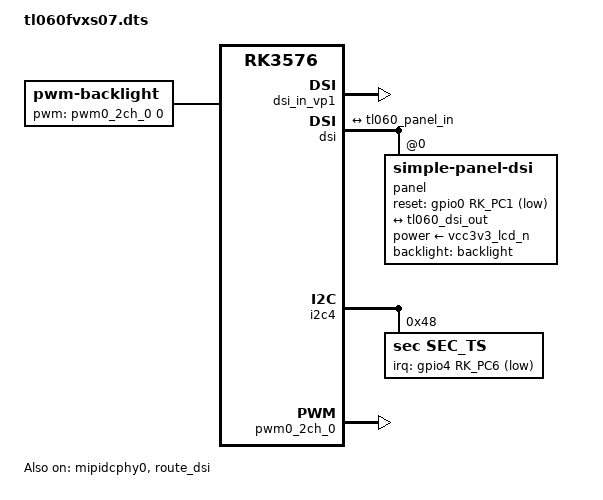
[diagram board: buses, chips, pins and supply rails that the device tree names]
/dts-v1/;
/plugin/;
#include <dt-bindings/gpio/gpio.h>
#include <dt-bindings/pinctrl/rockchip.h>
#include <dt-bindings/display/drm_mipi_dsi.h>

/ {
	compatible = "rockchip,rk3576-dshanpi-a1", "rockchip,rk3576";
};

/* Add the backlight without requiring a backlight symbol in the base DTB. */
&{/} {
	backlight: backlight {
		status = "okay";
		compatible = "pwm-backlight";
		pwms = <&pwm0_2ch_0 0 25000 0>;
		brightness-levels = <0 20 20 21 21 22 22 23
				     23 24 24 25 25 26 26 27
				     27 28 28 29 29 30 30 31
				     31 32 32 33 33 34 34 35
				     35 36 36 37 37 38 38 39
				     40 41 42 43 44 45 46 47
				     48 49 50 51 52 53 54 55
				     56 57 58 59 60 61 62 63
				     64 65 66 67 68 69 70 71
				     72 73 74 75 76 77 78 79
				     80 81 82 83 84 85 86 87
				     88 89 90 91 92 93 94 95
				     96 97 98 99 100 101 102 103
				     104 105 106 107 108 109 110 111
				     112 113 114 115 116 117 118 119
				     120 121 122 123 124 125 126 127
				     128 129 130 131 132 133 134 135
				     136 137 138 139 140 141 142 143
				     144 145 146 147 148 149 150 151
				     152 153 154 155 156 157 158 159
				     160 161 162 163 164 165 166 167
				     168 169 170 171 172 173 174 175
				     176 177 178 179 180 181 182 183
				     184 185 186 187 188 189 190 191
				     192 193 194 195 196 197 198 199
				     200 201 202 203 204 205 206 207
				     208 209 210 211 212 213 214 215
				     216 217 218 219 220 221 222 223
				     224 225 226 227 228 229 230 231
				     232 233 234 235 236 237 238 239
				     240 241 242 243 244 245 246 247
				     248 249 250 251 252 253 254 255>;
		default-brightness-level = <200>;
	};
};

&mipidcphy0 {
	status = "okay";
};

/* Use VP1 for DSI, leaving the existing HDMI / VP0 configuration intact. */
&dsi_in_vp0 {
	status = "disabled";
};

&dsi_in_vp1 {
	status = "okay";
};

&dsi_in_vp2 {
	status = "disabled";
};

&dsi_in_vopl {
	status = "disabled";
};

&route_dsi {
	status = "okay";
	connect = <&vp1_out_dsi>;
};

&dsi {
	status = "okay";
	#address-cells = <1>;
	#size-cells = <0>;

	/* Creates the panel if absent, or merges with the vendor panel@0. */
	panel@0 {
		compatible = "simple-panel-dsi";
		reg = <0>;
		status = "okay";

		backlight = <&backlight>;
		power-supply = <&vcc3v3_lcd_n>;
		reset-gpios = <&gpio0 RK_PC1 GPIO_ACTIVE_LOW>;

		pinctrl-names = "default";
		pinctrl-0 = <&lcd_reset_pin>;

		prepare-delay-ms = <40>;
		reset-delay-ms = <60>;
		init-delay-ms = <80>;
		stbyb-delay-ms = <20>;
		enable-delay-ms = <60>;
		disable-delay-ms = <20>;
		unprepare-delay-ms = <20>;
		rotation = <90>;
		width-mm = <135>;
		height-mm = <216>;
		dsi,flags = <(MIPI_DSI_MODE_VIDEO | MIPI_DSI_MODE_VIDEO_BURST |
			      MIPI_DSI_MODE_LPM | MIPI_DSI_MODE_NO_EOT_PACKET | MIPI_DSI_CLOCK_NON_CONTINUOUS)>;
		dsi,format = <MIPI_DSI_FMT_RGB888>;
		dsi,lanes = <4>;
		panel-init-sequence = [05 78 01 11
				       05 0a 01 29];

		panel-exit-sequence = [05 10 01 28
				       05 78 01 10];

		display-timings {
			/* Select this timing even when the base has an old timing0. */
			native-mode = <&tl060_timing>;

			tl060_timing: timing-1080x2160 {
				clock-frequency = <157000000>;
				hactive = <1080>;
				hfront-porch = <115>;
				hback-porch = <13>;
				hsync-len = <3>;
				vactive = <2160>;
				vfront-porch = <10>;
				vback-porch = <10>;
				vsync-len = <2>;
				hsync-active = <0>;
				vsync-active = <0>;
				de-active = <0>;
				pixelclk-active = <0>;
			};
		};

		ports {
			#address-cells = <1>;
			#size-cells = <0>;

			port@0 {
				reg = <0>;

				tl060_panel_in: endpoint {
					remote-endpoint = <&tl060_dsi_out>;
				};
			};
		};
	};

	ports {
		#address-cells = <1>;
		#size-cells = <0>;

		port@1 {
			reg = <1>;

			tl060_dsi_out: endpoint {
				remote-endpoint = <&tl060_panel_in>;
			};
		};
	};
};

&i2c4 {
	#address-cells = <1>;
	#size-cells = <0>;

	sec_ts: sec_ts@48 {
		compatible = "sec,sec_ts";
		reg = <0x48>;

		pinctrl-names = "default";
		pinctrl-0 = <&ts_irq_pin>;
		sec,irq_gpio = <&gpio4 RK_PC6 GPIO_ACTIVE_LOW>;
		sec,max_coords = <1080>, <2160>;

		status = "okay";
	};
};

&pwm0_2ch_0 {
	status = "okay";
};

&pinctrl {
	tl060fvxs07 {
		lcd_reset_pin: lcd-reset-pin {
			rockchip,pins = <0 RK_PC1 RK_FUNC_GPIO &pcfg_pull_none>;
		};

		ts_irq_pin: ts-irq-pin {
			rockchip,pins = <4 RK_PC6 RK_FUNC_GPIO &pcfg_pull_none>;
		};
	};
};
